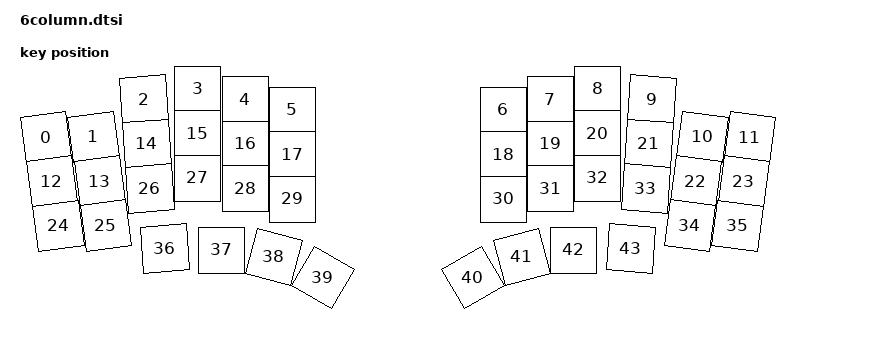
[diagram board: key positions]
#include <physical_layouts.dtsi>
#include <layouts/spl1t/position_map.dtsi>

/ {
    spl1t_6col_layout: spl1t_6col_layout {
        compatible = "zmk,physical-layout";
        display-name = "6 Column";

        keys
            = <&key_physical_attrs 100 100    0   97  (-800)    50   147>
            , <&key_physical_attrs 100 100   95   96  (-800)   145   146>
            , <&key_physical_attrs 100 100  196   21  (-400)   246    71>
            , <&key_physical_attrs 100 100  304    0       0     0     0>
            , <&key_physical_attrs 100 100  399   21       0     0     0>
            , <&key_physical_attrs 100 100  493   42       0     0     0>
            , <&key_physical_attrs 100 100  915   42       0     0     0>
            , <&key_physical_attrs 100 100 1009   21       0     0     0>
            , <&key_physical_attrs 100 100 1104    0       0     0     0>
            , <&key_physical_attrs 100 100 1212   21     400  1262    71>
            , <&key_physical_attrs 100 100 1313   96     800  1363   146>
            , <&key_physical_attrs 100 100 1408   97     800  1458   147>
            , <&key_physical_attrs 100 100   12  185  (-800)    62   235>
            , <&key_physical_attrs 100 100  108  185  (-800)   158   235>
            , <&key_physical_attrs 100 100  202  110  (-400)   252   160>
            , <&key_physical_attrs 100 100  304   89       0     0     0>
            , <&key_physical_attrs 100 100  399  110       0     0     0>
            , <&key_physical_attrs 100 100  493  131       0     0     0>
            , <&key_physical_attrs 100 100  915  131       0     0     0>
            , <&key_physical_attrs 100 100 1009  110       0     0     0>
            , <&key_physical_attrs 100 100 1104   89       0     0     0>
            , <&key_physical_attrs 100 100 1206  110     400  1256   160>
            , <&key_physical_attrs 100 100 1300  185     800  1350   235>
            , <&key_physical_attrs 100 100 1396  185     800  1446   235>
            , <&key_physical_attrs 100 100   25  274  (-800)    75   324>
            , <&key_physical_attrs 100 100  120  273  (-800)   170   323>
            , <&key_physical_attrs 100 100  208  199  (-400)   258   249>
            , <&key_physical_attrs 100 100  304  178       0     0     0>
            , <&key_physical_attrs 100 100  399  199       0     0     0>
            , <&key_physical_attrs 100 100  493  220       0     0     0>
            , <&key_physical_attrs 100 100  915  220       0     0     0>
            , <&key_physical_attrs 100 100 1009  199       0     0     0>
            , <&key_physical_attrs 100 100 1104  178       0     0     0>
            , <&key_physical_attrs 100 100 1200  199     400  1250   249>
            , <&key_physical_attrs 100 100 1288  273     800  1338   323>
            , <&key_physical_attrs 100 100 1383  274     800  1433   324>
            , <&key_physical_attrs 100 100  238  319  (-400)   288   369>
            , <&key_physical_attrs 100 100  352  322       0     0     0>
            , <&key_physical_attrs 100 100  456  336    1500   506   386>
            , <&key_physical_attrs 100 100  554  377    3000   604   427>
            , <&key_physical_attrs 100 100  854  377 (-3000)   904   427>
            , <&key_physical_attrs 100 100  952  336 (-1500)  1002   386>
            , <&key_physical_attrs 100 100 1056  322       0     0     0>
            , <&key_physical_attrs 100 100 1170  319     400  1220   369>
            ;
    };
};

&layouts_spl1t_position_map {
    spl1t_6col_posmap: six {
        physical-layout = <&spl1t_6col_layout>;
        positions
            = < 0  1  2  3  4  5        6  7  8  9 10 11>
            , <12 13 14 15 16 17       18 19 20 21 22 23>
            , <24 25 26 27 28 29       30 31 32 33 34 35>
            , <         36 37 38    39 40 41 42 43      >;
    };
};
